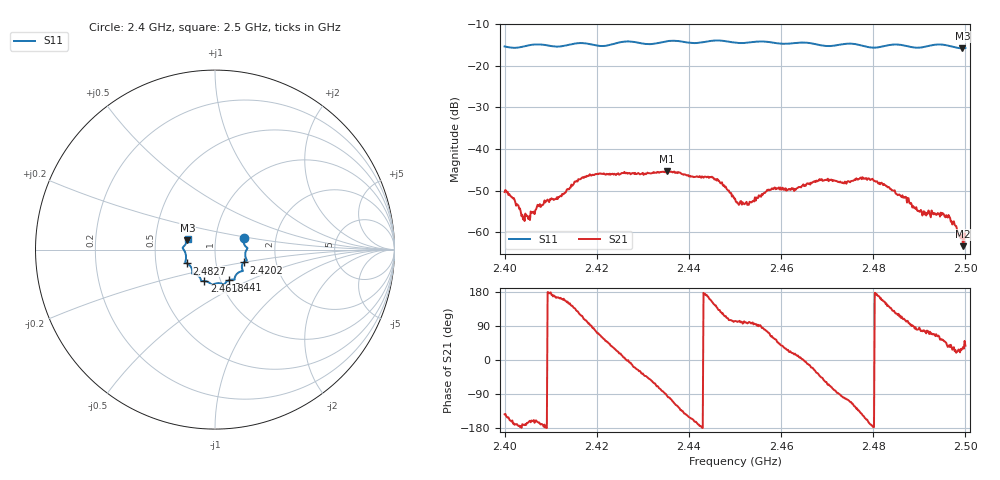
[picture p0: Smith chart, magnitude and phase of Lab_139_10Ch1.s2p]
# Hz S RI R 50
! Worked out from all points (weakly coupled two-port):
!   601 points, 2.4 GHz to 2.5 GHz, reference 50 ohm
!   highest |S21| = -45.40 dB at 2.4352 GHz (marker M1); lowest = -63.3 dB at 2.4995 GHz (marker M2)
!   lowest |S11| = -15.8 dB at 2.4993 GHz (marker M3), VSWR 1.39, Z = 36.5 + j3.81 ohm
!   |S11| at or under -10 dB: start of sweep to end of sweep
!   S12 and S22 are empty: the file has one direction only
!   S11 on the Smith chart (normalised r, x): 2.4 GHz: 1.36, +0.18; 2.4202 GHz: 1.36, -0.20; 2.441 GHz: 1.10, -0.39; 2.4618 GHz: 0.84, -0.30; 2.4827 GHz: 0.72, -0.11; 2.5 GHz: 0.73, +0.09
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2.4e9  0.1588 0.0627  -0.00244 -0.00182  0 0  0 0
2.403833e9  0.1677 0.0213  -0.0016 -0.000296  0 0  0 0
2.404833e9  0.1735 0.0151  -0.00154 -0.000382  0 0  0 0
2.416667e9  0.1774 -0.0608  -0.00201 0.00398  0 0  0 0
2.420167e9  0.1591 -0.0716  0.00171 0.00475  0 0  0 0
2.433333e9  0.1119 -0.1508  0.00177 -0.00499  0 0  0 0
2.435167e9  0.1094 -0.1638  -0.000307 -0.00536  0 0  0 0
2.441e9  0.0789 -0.17  -0.00428 -0.00167  0 0  0 0
2.446167e9  0.0495 -0.1954  -0.0032 0.00296  0 0  0 0
2.45e9  0.0287 -0.1874  -0.000575 0.00247  0 0  0 0
2.4525e9  0.00379 -0.189  -0.000344 0.00229  0 0  0 0
2.4575e9  -0.0225 -0.1911  0.00111 0.00299  0 0  0 0
2.461833e9  -0.059 -0.1754  0.00309 0.0012  0 0  0 0
2.466667e9  -0.0789 -0.1683  0.00366 -0.00135  0 0  0 0
2.477667e9  -0.1271 -0.1191  -0.00378 -0.0026  0 0  0 0
2.482667e9  -0.1558 -0.077  -0.00313 0.00192  0 0  0 0
2.483333e9  -0.1602 -0.075  -0.00274 0.00217  0 0  0 0
2.490167e9  -0.1638 -0.0223  0.000297 0.00174  0 0  0 0
2.496167e9  -0.1741 0.0179  0.00124 0.00085  0 0  0 0
2.499333e9  -0.1542 0.0509  0.000761 0.000438  0 0  0 0
2.4995e9  -0.1535 0.053  0.000562 0.000383  0 0  0 0
2.5e9  -0.152 0.0603  0.000683 0.000531  0 0  0 0
